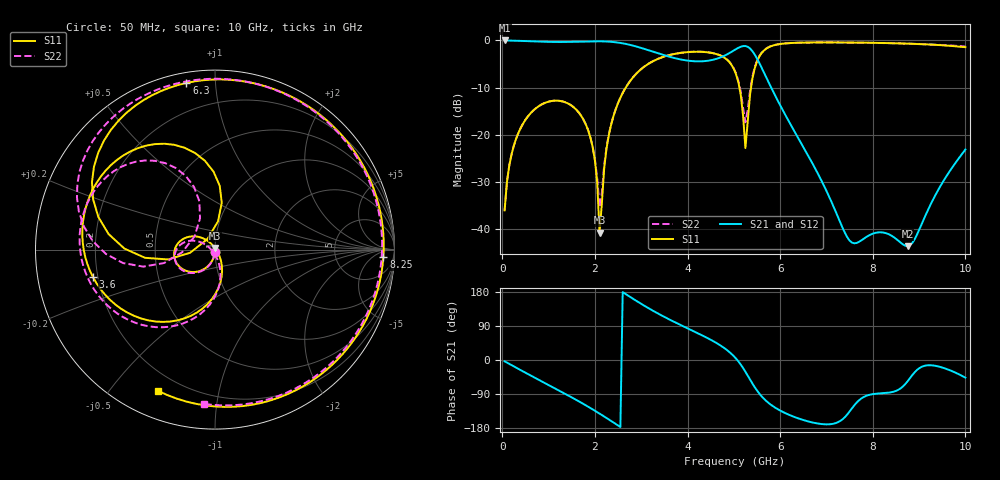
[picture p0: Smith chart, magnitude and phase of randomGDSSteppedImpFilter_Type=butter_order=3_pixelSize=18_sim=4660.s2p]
! freq	dB(S11)	phase(S11)	dB(S12)	phase(S12)
!  dB(S21)	phase(S21)	dB(S22)	phase(S22)
!S-par simulation data
#  GHz  S  DB  R 50
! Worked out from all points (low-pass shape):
!   200 points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, 50 MHz to 10 GHz, reference 50 ohm
!   highest |S21| = -0.01 dB at 50 MHz (marker M1); lowest = -43.6 dB at 8.75 GHz (marker M2)
!   |S21| within 3 dB of the highest: start of sweep to 3.451 GHz; 4.845 GHz to 5.452 GHz (606.2 MHz wide, 11.8 % of centre)
!   lowest |S11| = -40.7 dB at 2.1 GHz (marker M3), VSWR 1.02, Z = 50.1 + j0.916 ohm
!   |S11| at or under -10 dB: start of sweep to 2.666 GHz; 5.12 GHz to 5.372 GHz (252.2 MHz wide, 4.81 % of centre)
!   |S22| runs from -36.0 to -0.4 dB; largest |S21 - S12| = 0
!   S11 on the Smith chart (normalised r, x): 50 MHz: 1.00, -0.03; 3.6 GHz: 0.18, -0.11; 6.3 GHz: 0.05, +0.84; 8.25 GHz: 21, -15; 10 GHz: 0.12, -0.67
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0.05  -36.01 -93.2  -0.01 -3.4  -0.01 -3.4  -36.00 -93.0
0.2  -24.11 -103.9  -0.04 -13.6  -0.04 -13.6  -24.11 -103.2
0.6  -15.54 -131.7  -0.18 -40.1  -0.18 -40.1  -15.54 -129.4
1.75  -16.73 149.4  -0.24 -115.8  -0.24 -115.8  -16.72 160.2
2  -25.41 127.2  -0.19 -133.9  -0.19 -133.9  -25.17 153.2
2.1  -40.73 84.3  -0.19 -141.4  -0.19 -141.4  -35.30 -162.7
2.25  -22.94 -62.1  -0.23 -153.0  -0.23 -153.0  -22.68 -74.2
2.45  -14.56 -81.0  -0.39 -168.8  -0.39 -168.8  -14.50 -81.9
3.4  -3.76 -154.5  -2.85 120.2  -2.85 120.2  -3.74 -146.8
3.6  -3.13 -167.5  -3.44 107.4  -3.44 107.4  -3.11 -158.7
4.4  -2.48 144.1  -4.36 59.8  -4.36 59.8  -2.46 157.1
5.05  -7.25 91.1  -1.83 3.3  -1.83 3.3  -7.07 111.7
5.25  -22.80 125.6  -1.19 -31.0  -1.19 -31.0  -17.34 147.1
5.5  -4.45 171.7  -3.83 -80.5  -3.83 -80.5  -4.30 -177.8
5.75  -1.46 140.3  -8.85 -113.4  -8.85 -113.4  -1.41 154.5
6.3  -0.52 99.7  -19.11 -150.0  -19.11 -150.0  -0.51 117.3
6.7  -0.43 77.6  -26.10 -164.9  -26.10 -164.9  -0.43 96.8
7.5  -0.44 36.6  -42.40 -135.9  -42.40 -135.9  -0.46 57.1
8.25  -0.55 -2.6  -40.74 -87.3  -40.74 -87.3  -0.56 17.0
8.35  -0.57 -8.0  -41.08 -86.1  -41.08 -86.1  -0.58 11.3
8.75  -0.68 -30.4  -43.58 -56.5  -43.58 -56.5  -0.68 -12.3
10  -1.43 -112.2  -23.10 -46.7  -23.10 -46.7  -1.29 -94.1
